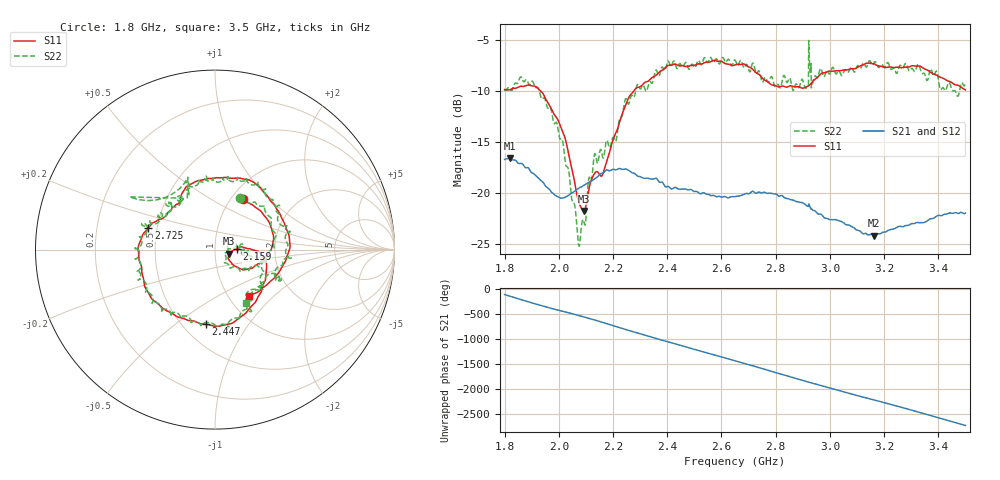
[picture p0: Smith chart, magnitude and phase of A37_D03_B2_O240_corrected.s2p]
! Created with skrf 1.9.0 (http://scikit-rf.org).
# Hz S RI R 50.0
!freq ReS11 ImS11 ReS21 ImS21 ReS12 ImS12 ReS22 ImS22
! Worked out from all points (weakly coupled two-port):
!   1601 points, 1.8 GHz to 3.5 GHz, reference 50 ohm
!   highest |S21| = -16.61 dB at 1.818 GHz (marker M1); lowest = -24.2 dB at 3.163 GHz (marker M2)
!   lowest |S11| = -21.8 dB at 2.092 GHz (marker M3), VSWR 1.18, Z = 58.4 - j2.71 ohm
!   |S11| at or under -10 dB: 1.933 GHz to 2.277 GHz (344.3 MHz wide, 16.4 % of centre)
!   |S22| runs from -25.2 to -5.1 dB; largest |S21 - S12| = 0.0025
!   S11 on the Smith chart (normalised r, x): 1.8 GHz: 1.13, +0.71; 2.159 GHz: 1.28, +0.01; 2.447 GHz: 0.64, -0.65; 2.725 GHz: 0.45, +0.13; 3.5 GHz: 1.25, -0.71
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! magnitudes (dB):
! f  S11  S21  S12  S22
! 1.8 GHz  -9.9  -16.7  -16.7  -9.9
! 1.818 GHz  -9.9  -16.6  -16.6  -9.7
! 1.903 GHz  -9.5  -18.1  -18.0  -9.1
! 1.968 GHz  -11.5  -19.7  -19.8  -11.6
! 2.014 GHz  -14.0  -20.5  -20.5  -14.9
! 2.072 GHz  -20.7  -19.6  -19.6  -25.0
! 2.084 GHz  -21.5  -19.4  -19.4  -23.2
! 2.092 GHz  -21.8  -19.3  -19.3  -22.8
! 2.13 GHz  -18.1  -18.6  -18.6  -16.4
! 2.159 GHz  -18.3  -18.1  -18.0  -16.2
! 2.259 GHz  -10.6  -17.8  -17.8  -11.2
! 2.367 GHz  -8.2  -18.8  -18.8  -8.5
! 2.447 GHz  -7.6  -19.6  -19.6  -7.3
! 2.65 GHz  -7.5  -20.3  -20.3  -7.0
! 2.725 GHz  -8.2  -20.0  -20.0  -8.1
! 2.812 GHz  -9.6  -20.3  -20.2  -9.5
! 2.934 GHz  -9.2  -21.6  -21.6  -9.6
! 3.163 GHz  -7.3  -24.2  -24.1  -7.2
! 3.217 GHz  -7.7  -23.6  -23.6  -7.4
! 3.391 GHz  -8.4  -22.3  -22.3  -8.1
! 3.469 GHz  -9.4  -22.0  -21.9  -10.4
! 3.5 GHz  -9.9  -22.0  -22.0  -9.3
